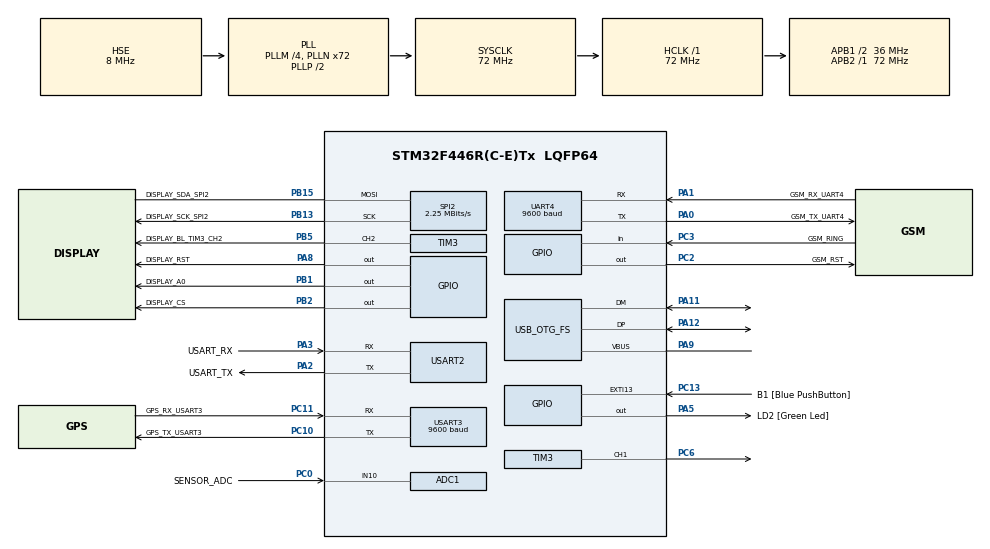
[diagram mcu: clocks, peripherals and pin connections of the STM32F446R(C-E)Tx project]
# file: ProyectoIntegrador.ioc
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ADC1.Channel-0\#ChannelRegularConversion=ADC_CHANNEL_10
ADC1.ClockPrescaler=ADC_CLOCK_SYNC_PCLK_DIV2
ADC1.ContinuousConvMode=DISABLE
ADC1.DMAContinuousRequests=ENABLE
ADC1.NbrOfConversionFlag=1
ADC1.Rank-0\#ChannelRegularConversion=1
ADC1.SamplingTime-0\#ChannelRegularConversion=ADC_SAMPLETIME_3CYCLES
ADC1.master=1
Dma.ADC1.0.Direction=DMA_PERIPH_TO_MEMORY
Dma.ADC1.0.FIFOMode=DMA_FIFOMODE_DISABLE
Dma.ADC1.0.Instance=DMA2_Stream0
Dma.ADC1.0.MemDataAlignment=DMA_MDATAALIGN_HALFWORD
Dma.ADC1.0.MemInc=DMA_MINC_ENABLE
Dma.ADC1.0.Mode=DMA_CIRCULAR
Dma.ADC1.0.PeriphDataAlignment=DMA_PDATAALIGN_HALFWORD
Dma.ADC1.0.PeriphInc=DMA_PINC_DISABLE
Dma.ADC1.0.Priority=DMA_PRIORITY_LOW
Dma.Request0=ADC1
FREERTOS.Tasks01=defaultTask,0,128,StartDefaultTask,Default,NULL,Dynamic,NULL,NULL
FREERTOS.configTOTAL_HEAP_SIZE=49152
FREERTOS.configUSE_COUNTING_SEMAPHORES=1
FREERTOS.configUSE_NEWLIB_REENTRANT=1
Mcu.Family=STM32F4
Mcu.Name=STM32F446R(C-E)Tx
Mcu.Package=LQFP64
NVIC.DMA2_Stream0_IRQn=true\:5\:0\:false\:false\:true\:true\:false\:true\:true
NVIC.EXTI15_10_IRQn=true\:5\:0\:false\:false\:true\:true\:true\:true\:true
NVIC.OTG_FS_IRQn=true\:5\:0\:false\:false\:true\:true\:false\:true\:true
NVIC.PriorityGroup=NVIC_PRIORITYGROUP_4
NVIC.TIM1_UP_TIM10_IRQn=true\:15\:0\:true\:false\:true\:false\:false\:true\:true
NVIC.TIM2_IRQn=true\:5\:0\:false\:false\:true\:true\:true\:true\:true
NVIC.TIM4_IRQn=true\:5\:0\:false\:false\:true\:true\:true\:true\:true
NVIC.TIM5_IRQn=true\:5\:0\:false\:false\:true\:true\:true\:true\:true
NVIC.TIM6_DAC_IRQn=true\:5\:0\:false\:false\:true\:true\:true\:true\:true
NVIC.TimeBase=TIM1_UP_TIM10_IRQn
NVIC.TimeBaseIP=TIM1
NVIC.UART4_IRQn=true\:5\:0\:true\:false\:true\:true\:true\:true\:true
NVIC.USART3_IRQn=true\:5\:0\:true\:false\:true\:true\:true\:true\:true
PA0-WKUP.GPIO_Label=GSM_TX_UART4
PA0-WKUP.Mode=Asynchronous
PA0-WKUP.Signal=UART4_TX
PA1.GPIO_Label=GSM_RX_UART4
PA1.Mode=Asynchronous
PA1.Signal=UART4_RX
PA11.Mode=Device_Only
PA11.Signal=USB_OTG_FS_DM
PA12.Mode=Device_Only
PA12.Signal=USB_OTG_FS_DP
PA13.GPIO_Label=TMS
PA13.Mode=Serial_Wire
PA13.Signal=SYS_JTMS-SWDIO
PA14.GPIO_Label=TCK
PA14.Mode=Serial_Wire
PA14.Signal=SYS_JTCK-SWCLK
PA2.GPIO_Label=USART_TX
PA2.Mode=Asynchronous
PA2.Signal=USART2_TX
PA3.GPIO_Label=USART_RX
PA3.Mode=Asynchronous
PA3.Signal=USART2_RX
PA5.GPIO_Label=LD2 [Green Led]
PA5.Signal=GPIO_Output
PA8.GPIO_Label=DISPLAY_RST
PA8.Signal=GPIO_Output
PA9.Mode=Activate_VBUS
PA9.Signal=USB_OTG_FS_VBUS
PB1.GPIO_Label=DISPLAY_A0
PB1.Signal=GPIO_Output
PB13.GPIO_Label=DISPLAY_SCK_SPI2
PB13.Mode=Simplex_Bidirectional_Master
PB13.Signal=SPI2_SCK
PB15.GPIO_Label=DISPLAY_SDA_SPI2
PB15.Mode=Simplex_Bidirectional_Master
PB15.Signal=SPI2_MOSI
PB2.GPIO_Label=DISPLAY_CS
PB2.Signal=GPIO_Output
PB3.GPIO_Label=SWO
PB3.Signal=SYS_JTDO-SWO
PB5.GPIO_Label=DISPLAY_BL_TIM3_CH2
PB5.Signal=S_TIM3_CH2
PC0.GPIO_Label=SENSOR_ADC
PC0.Signal=ADCx_IN10
PC10.GPIO_Label=GPS_TX_USART3
PC10.Mode=Asynchronous
PC10.Signal=USART3_TX
PC11.GPIO_Label=GPS_RX_USART3
PC11.Mode=Asynchronous
PC11.Signal=USART3_RX
PC13.GPIO_Label=B1 [Blue PushButton]
PC13.GPIO_ModeDefaultEXTI=GPIO_MODE_IT_FALLING
PC13.Signal=GPXTI13
PC14-OSC32_IN.Mode=LSE-External-Oscillator
PC14-OSC32_IN.Signal=RCC_OSC32_IN
PC15-OSC32_OUT.Mode=LSE-External-Oscillator
PC15-OSC32_OUT.Signal=RCC_OSC32_OUT
PC2.GPIO_Label=GSM_RST
PC2.Signal=GPIO_Output
PC3.GPIO_Label=GSM_RING
PC3.Signal=GPIO_Input
PC6.Signal=S_TIM3_CH1
PH0-OSC_IN.Mode=HSE-External-Oscillator
PH0-OSC_IN.Signal=RCC_OSC_IN
PH1-OSC_OUT.Mode=HSE-External-Oscillator
PH1-OSC_OUT.Signal=RCC_OSC_OUT
ProjectManager.HeapSize=0x200
ProjectManager.StackSize=0x400
ProjectManager.TargetToolchain=STM32CubeIDE
RCC.48MHZClocksFreq_Value=84000000
RCC.AHBFreq_Value=72000000
RCC.APB1CLKDivider=RCC_HCLK_DIV2
RCC.APB1Freq_Value=36000000
RCC.APB1TimFreq_Value=72000000
RCC.APB2Freq_Value=72000000
RCC.APB2TimFreq_Value=72000000
RCC.CortexFreq_Value=72000000
RCC.FLatency-AdvancedSettings=FLASH_LATENCY_2
RCC.HCLKFreq_Value=72000000
RCC.HSE_VALUE=8000000
RCC.HSI_VALUE=16000000
RCC.PLLM=4
RCC.PLLN=72
RCC.PLLQ=3
RCC.PLLSourceVirtual=RCC_PLLSOURCE_HSE
RCC.SYSCLKFreq_VALUE=72000000
RCC.SYSCLKSource=RCC_SYSCLKSOURCE_PLLCLK
RCC.USBFreq_Value=48000000
RCC.VCOOutputFreq_Value=144000000
SH.ADCx_IN10.0=ADC1_IN10,IN10
SH.S_TIM3_CH1.0=TIM3_CH1,PWM Generation1 CH1
SH.S_TIM3_CH2.0=TIM3_CH2,PWM Generation2 CH2
SPI2.BaudRatePrescaler=SPI_BAUDRATEPRESCALER_16
SPI2.CalculateBaudRate=2.25 MBits/s
SPI2.Direction=SPI_DIRECTION_1LINE
SPI2.Mode=SPI_MODE_MASTER
SPI2.VirtualType=VM_MASTER
TIM2.Period=360000
TIM2.Prescaler=35999
TIM3.AutoReloadPreload=TIM_AUTORELOAD_PRELOAD_ENABLE
TIM3.Channel-Output\ Compare2\ CH2=TIM_CHANNEL_2
TIM3.Channel-PWM\ Generation1\ CH1=TIM_CHANNEL_1
TIM3.Channel-PWM\ Generation2\ CH2=TIM_CHANNEL_2
TIM3.ClockDivision=TIM_CLOCKDIVISION_DIV1
TIM3.Period=2000
TIM3.Prescaler=35
TIM3.Pulse-PWM\ Generation2\ CH2=0
TIM4.ClockDivision=TIM_CLOCKDIVISION_DIV1
TIM4.Period=60000
TIM4.Prescaler=47999
TIM5.Period=240000
TIM5.Prescaler=35999
TIM6.AutoReloadPreload=TIM_AUTORELOAD_PRELOAD_DISABLE
TIM6.Period=1000
TIM6.Prescaler=47999
UART4.BaudRate=9600
UART4.VirtualMode=Asynchronous
USART2.VirtualMode=VM_ASYNC
USART3.BaudRate=9600
USART3.VirtualMode=VM_ASYNC
USB_DEVICE.CLASS_NAME_FS=CUSTOM_HID
USB_DEVICE.CUSTOM_HID_FS_BINTERVAL=0x5
USB_DEVICE.MANUFACTURER_STRING-CUSTOM_HID_FS=STMicroelectronics
USB_DEVICE.PRODUCT_STRING_CUSTOMHID_FS=Rastreador GPS
USB_DEVICE.USBD_CUSTOMHID_OUTREPORT_BUF_SIZE-CUSTOM_HID_FS=64
USB_DEVICE.USBD_CUSTOM_HID_REPORT_DESC_SIZE-CUSTOM_HID_FS=33
USB_DEVICE.VID-CUSTOM_HID_FS=1155
USB_DEVICE.VirtualMode-CUSTOM_HID_FS=CustomHid
USB_DEVICE.VirtualModeFS=Custom_Hid_FS
USB_OTG_FS.VirtualMode=Device_Only
VP_FREERTOS_VS_CMSIS_V1.Mode=CMSIS_V1
VP_SYS_VS_tim1.Mode=TIM1
VP_TIM2_VS_ClockSourceINT.Mode=Internal
VP_TIM3_VS_ClockSourceINT.Mode=Internal
VP_TIM4_VS_ClockSourceINT.Mode=Internal
VP_TIM5_VS_ClockSourceINT.Mode=Internal
VP_TIM6_VS_ClockSourceINT.Mode=Enable_Timer
VP_USB_DEVICE_VS_USB_DEVICE_CUSTOM_HID_FS.Mode=CUSTOM_HID_FS
board=NUCLEO-F446RE
wolfSSL.I-CUBE-wolfMQTT.1.19.0.WOLFMQTT_CONF_FREERTOS=1

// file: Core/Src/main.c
/* USER CODE BEGIN Header */
/**
  ******************************************************************************
  * @file           : main.c
  * @brief          : Main program body
  ******************************************************************************
  * @attention
  *
  * Copyright (c) 2024 STMicroelectronics.
  * All rights reserved.
  *
  * This software is licensed under terms that can be found in the LICENSE file
  * in the root directory of this software component.
  * If no LICENSE file comes with this software, it is provided AS-IS.
  *
  ******************************************************************************
  */
/* USER CODE END Header */
#include "main.h"
#include "cmsis_os.h"
#include "usb_device.h"

/* USER CODE BEGIN Includes */
#include <stdlib.h>
#include <string.h>
//#include <ut_NMEA.h>
#include "semphr.h"
#include "queue.h"

#include "dr_GPS.h"
#include "dr_GSM.h"

#include "dr_Display.h"
#include "screen_layout.h"

#include "dr_USB.h"

/* USER CODE END Includes */

/* USER CODE BEGIN PD */

#define	DEBUG_UART	&huart2
#define	GPS_UART	&huart3
#define	GSM_UART	&huart4

#define SCREEN_UPDATE_QUEUE_SIZE	16

#define	SCREEN_UPDATE_GPSRMC		1
#define SCREEN_UPDATE_GPSGGA		2
#define SCREEN_UPDATE_CONNECTION	3
#define SCREEN_UPDATE_MQTTPING		4
#define SCREEN_UPDATE_MQTTPUB		5
#define	SCREEN_UPDATE_TICK			6

#define GSM_CONNECTIONG_TASK_DELAY	1500

/* USER CODE END PD */

/* USER CODE BEGIN PM */

#define	__INCREASE_COUNT(X, MAX) if(++X >= MAX) X = 0;

/* USER CODE END PM */

ADC_HandleTypeDef hadc1;
DMA_HandleTypeDef hdma_adc1;

SPI_HandleTypeDef hspi2;

TIM_HandleTypeDef htim2;
TIM_HandleTypeDef htim3;
TIM_HandleTypeDef htim4;
TIM_HandleTypeDef htim5;
TIM_HandleTypeDef htim6;

UART_HandleTypeDef huart4;
UART_HandleTypeDef huart2;
UART_HandleTypeDef huart3;

osThreadId defaultTaskHandle;
/* USER CODE BEGIN PV */

/*
 * TIM2: -Publish  (32 bits)
 * TIM4: -ADC
 * TIM3: PWM Display BL
 * TIM5: -Ping (32 bits)
 * TIM6: Screen Tick
 */

// Peripherals variables.
uint8_t gpsRxByte;
uint8_t simRxByte;
uint16_t ADC_Value = 0;

// Configuration default values.
const char default_MQTT_host[15] = "190.18.0.169";
const char default_MQTT_port[5] = "1883";
const char default_MQTT_topic[16] = "Prueba";
const char default_MQTT_username[30] = "Nucleo";
const char default_MQTT_password[30] = "f446re";
const char default_MQTT_clientIdentifier[16] = "STM32";
const uint8_t default_MQTT_connectWhenUsbUnplug = 1;
const uint8_t default_MQTT_publishInterval = 180; // In seconds.
const uint8_t default_MQTT_pingInterval = 120; // In seconds.

const uint8_t default_GPS_interval = 3; // In seconds.
const uint8_t default_ADC_interval = 40; // In seconds.

// Configuration values.
char MQTT_host[15] = "190.18.0.169";
char MQTT_port[5] = "1883";
char MQTT_topic[16] = "Prueba";
char MQTT_username[30] = "Nucleo";
char MQTT_password[30] = "f446re";
char MQTT_clientIdentifier[16] = "STM32";
uint8_t MQTT_connectWhenUsbUnplug = 1;
uint8_t MQTT_publishInterval = 180; // In seconds.
uint8_t MQTT_pingInterval = 120; // In seconds.

uint8_t GPS_interval = 3; // In seconds.
uint8_t ADC_interval = 40; // In seconds.

// Const. variables.
const uint16_t MQTT_sessionExpire = 180; // Tiempo sin mensajes para ser desconectado del host.
const uint16_t MQTT_keepAlive = 300; // Tiempo desconectado para que el host olvide el dispositivo.

// FreeRTOS
SemaphoreHandle_t Semaphore_MQTT_Connect;
SemaphoreHandle_t Semaphore_MQTT_Disconnect;
//SemaphoreHandle_t Semaphore_MQTT_Logged;
SemaphoreHandle_t Semaphore_MQTT_Publish;
SemaphoreHandle_t Semaphore_MQTT_Ping;

QueueHandle_t Screen_Update_Queue;

// Pequé de vagancia
// Variable en la que deseamos que esté el sistema:
uint8_t MQTT_connection_objective = MQTT_CONNECTED;
// Variable en la que se encuentra el sistema:
uint8_t MQTT_connection_status = MQTT_DISCONNECTED;
// Buffer para transmitir la información de ubicación por USB:
uint8_t USB_GPS_report[0x40] = {0x40};

/*
 * TODO:
 * Renombrar variables de GPS.c y GSM.c para que sigan alguna lógica común...
 * Renombrar funciones de GPS.c y GSM.c para que sigan alguna lógica común...
 * Chequear si 'GSM_Read_SMS' y 'GSM_Delete_SMS' funcionan.
 * USB: Agregar envío de trama de posición.
 * USB: Agregar lectura y borrado de SMS.
 * Reemplazar variables globales en dr_GPS.c por elementos de FreeRTOS.
 * Reemplazar semáforos que sólo son recibidos en una tarea por notificaciones.
 * Revisar si las cuentas de los TIMERS están bien.
 * Revisar si TIM4 puede triggerear al ADC por HW.
 * Revisar cuanto stack usa cada task y ajustar stack de FreeRTOS.
 *
 * Cosas variables a agregar en QT:
 * - Formato de GPS (DDD, DMM, DMS).
 *
 * Dudas:
 * - Ver el tema de #include cmsis_os.h en los archivos o incluir semáforos, tasks, queues, a mano.
 * - Debería iniciar tasks en los .c o que tengan una función "Tick" a ser llamada?
 */

/* USER CODE END PV */

void SystemClock_Config(void);
static void MX_GPIO_Init(void);
static void MX_DMA_Init(void);
static void MX_USART2_UART_Init(void);
static void MX_UART4_Init(void);
static void MX_ADC1_Init(void);
static void MX_TIM3_Init(void);
static void MX_USART3_UART_Init(void);
static void MX_SPI2_Init(void);
static void MX_TIM4_Init(void);
static void MX_TIM6_Init(void);
static void MX_TIM2_Init(void);
static void MX_TIM5_Init(void);
void StartDefaultTask(void const * argument);

/* USER CODE BEGIN PFP */

// Tasks
void MQTT_Connect_Task(void * pvParameters);
void MQTT_Disconnect_Task(void * pvParameters);
void MQTT_Publish_Task(void * pvParameters);
void MQTT_Ping_Task(void * pvParameters);
void Screen_Update_Task(void * pvParameters);

/* USER CODE END PFP */

/* USER CODE BEGIN 0 */

// Callbacks
void HAL_GPIO_EXTI_Callback(uint16_t GPIO_Pin)
{
	if(GPIO_Pin == B1_Pin)
	{
		HAL_UART_Transmit(DEBUG_UART, (uint8_t *) "B1 Press Detect\r\n", 17, HAL_MAX_DELAY);
	}
}

void HAL_UART_RxCpltCallback(UART_HandleTypeDef *huart)
{
	if(huart == GPS_UART)
	{
		//HAL_UART_Transmit(DEBUG_UART, (uint8_t *) &gpsRxByte, 1, HAL_MAX_DELAY);
		GPS_RxITByte(gpsRxByte);
		HAL_UART_Receive_IT(GPS_UART, (uint8_t *) &gpsRxByte, 1);
	}
	else if(huart == GSM_UART)
	{
		HAL_UART_Transmit(DEBUG_UART, (uint8_t *) &simRxByte, 1, HAL_MAX_DELAY);
		GSM_RxITByte(simRxByte);
		HAL_UART_Receive_IT(GSM_UART, (uint8_t *) &simRxByte, 1);
	}
}

void GPS_New_Data_Callback(NMEA_Type_t type)
{
	static NMEA_RMC_Sentence_t RMCdata;
	static NMEA_GGA_Sentence_t GGAdata;

	uint8_t value;
	if(type == RMC) {
		value = SCREEN_UPDATE_GPSRMC;
		GPS_Get_Last_RMC(&RMCdata);
	}
	else if(type == GGA) {
		value = SCREEN_UPDATE_GPSGGA;
		GPS_Get_Last_GGA(&GGAdata);
	}
	xQueueSend(Screen_Update_Queue, &value, portMAX_DELAY);

	//uint8_t TXbuffer[0x40] = {0};
	transmit_packet_flags_t flags = {
			.format = FORMAT_MORE_LEGIBLE,
			.identifier = 1,
			.status = 1,
			.latitude = 1,
			.longitude = 1,
			.time = 0,
			.date = 0,
			.altitude = 1,
			.speed = 1,
			.satellite_qty = 1,
			.adc_value = 1
	};
	Parse_Transmit_Packet((uint8_t *) &USB_GPS_report[1], RMCdata, GGAdata, ADC_Value, flags);
}

void GSM_New_SMS_Callback(uint8_t index)
{
	uint8_t aux[20] = "NUEVO MENSAJE! (0)\r\n";
	aux[16] = index + '0';
	HAL_UART_Transmit(DEBUG_UART, (uint8_t *) &aux, 20, HAL_MAX_DELAY);
}

// Tasks
void MQTT_Connect_Task(void * pvParameters)
{
	uint8_t gsm_registered = 0;
	uint8_t gsm_connected = 0;
	uint8_t mqtt_connected = 0;
	uint8_t mqtt_logged = 0;

	uint16_t delay = GSM_CONNECTIONG_TASK_DELAY;

	while(1)
	{
		xSemaphoreTake(Semaphore_MQTT_Connect, portMAX_DELAY);
		xSemaphoreGive(Semaphore_MQTT_Connect);
		if(MQTT_connection_objective == MQTT_DISCONNECTED || MQTT_connection_objective == MQTT_RECONNECT)
		{
			HAL_UART_Transmit(DEBUG_UART, (uint8_t *) "MQTT Disconnecting\r\n", 20, HAL_MAX_DELAY);
			mqtt_connected = 0;
			mqtt_logged = 0;
			delay = GSM_CONNECTIONG_TASK_DELAY;
			MQTT_connection_status = MQTT_DISCONNECTING;
			//xSemaphoreTake(Semaphore_MQTT_Ping, portMAX_DELAY);
			HAL_TIM_Base_Stop_IT(&htim2); // Publish
			//xSemaphoreTake(Semaphore_MQTT_Logged, portMAX_DELAY);
			HAL_TIM_Base_Stop_IT(&htim5); // Ping
			xSemaphoreGive(Semaphore_MQTT_Disconnect);
			xSemaphoreTake(Semaphore_MQTT_Connect, portMAX_DELAY);
		}
		else if(MQTT_connection_objective == MQTT_CONNECTED)
		{
			if(MQTT_connection_status == MQTT_CONNECTED)
			{
				//if(mqtt_logged == MQTT_LOGGED)
				//{
					HAL_UART_Transmit(DEBUG_UART, (uint8_t *) "MQTT Connection check...\r\n", 26, HAL_MAX_DELAY);
					mqtt_logged = GSM_MQTT_Is_Logged();
					if(mqtt_logged == MQTT_NOT_LOGGED)
					{
						HAL_UART_Transmit(DEBUG_UART, (uint8_t *) "MQTT Disconnected\r\n", 19, HAL_MAX_DELAY);
						mqtt_connected = 0;
						MQTT_connection_status = MQTT_DISCONNECTED;
						//xSemaphoreTake(Semaphore_MQTT_Ping, portMAX_DELAY);
						HAL_TIM_Base_Stop_IT(&htim5); // Ping
						//xSemaphoreTake(Semaphore_MQTT_Logged, portMAX_DELAY);
						HAL_TIM_Base_Stop_IT(&htim2); // Publish
						delay = GSM_CONNECTIONG_TASK_DELAY;
						uint8_t value = SCREEN_UPDATE_CONNECTION;
						xQueueSend(Screen_Update_Queue, &value, portMAX_DELAY);
					}
				//}
			}
			else if(MQTT_connection_status == MQTT_CONNECTING)
			{
				HAL_UART_Transmit(DEBUG_UART, (uint8_t *) "MQTT Connecting...\r\n", 20, HAL_MAX_DELAY);
				if(gsm_registered != 1 && gsm_registered != 5)
				{
					HAL_UART_Transmit(DEBUG_UART, (uint8_t *) "REG: Checking...\r\n", 18, HAL_MAX_DELAY);
					gsm_registered = GSM_CREG();
					if(gsm_registered == ERROR_VALUE) HAL_UART_Transmit(DEBUG_UART, (uint8_t *) "REG: ERROR\r\n", 12, HAL_MAX_DELAY);
					else if(gsm_registered == 1) HAL_UART_Transmit(DEBUG_UART, (uint8_t *) "REG: REGISTERED (1)\r\n", 21, HAL_MAX_DELAY);
					else if(gsm_registered == 5) HAL_UART_Transmit(DEBUG_UART, (uint8_t *) "REG: REGISTERED (5)\r\n", 21, HAL_MAX_DELAY);
					else HAL_UART_Transmit(DEBUG_UART, (uint8_t *) "REG: NOT REGISTERED\r\n", 21, HAL_MAX_DELAY);
				}
				else if(gsm_connected == GSM_DISCONNECTED)
				{
					HAL_UART_Transmit(DEBUG_UART, (uint8_t *) "Connecting to NET (CGATT)...\r\n", 30, HAL_MAX_DELAY);
					GSM_Error_t gsm_net_status = GSM_NET_Init();
					if(gsm_net_status == GSM_ERR_OK)
					{
						HAL_UART_Transmit(DEBUG_UART, (uint8_t *) "NET: CONNECTED\r\n", 16, HAL_MAX_DELAY);
						gsm_connected = GSM_CONNECTED;
					}
					else if(gsm_net_status == GSM_CIPSHUT_ERR) HAL_UART_Transmit(DEBUG_UART, (uint8_t *) "NET: CIPSHUR ERROR\r\n", 20, HAL_MAX_DELAY);
					else if(gsm_net_status == GSM_GATT_ERR) HAL_UART_Transmit(DEBUG_UART, (uint8_t *) "NET: GATT ERROR\r\n", 17, HAL_MAX_DELAY);
					else if(gsm_net_status == GSM_CIPMODE_ERR) HAL_UART_Transmit(DEBUG_UART, (uint8_t *) "NET: CIPMODE ERROR\r\n", 20, HAL_MAX_DELAY);
					else if(gsm_net_status == GSM_CSTT_ERR) HAL_UART_Transmit(DEBUG_UART, (uint8_t *) "NET: CSTT ERROR\r\n", 17, HAL_MAX_DELAY);
					else if(gsm_net_status == GSM_CIICR_ERR) HAL_UART_Transmit(DEBUG_UART, (uint8_t *) "NET: CIICR ERROR\r\n", 18, HAL_MAX_DELAY);
					else if(gsm_net_status == GSM_CIFSR_ERR) HAL_UART_Transmit(DEBUG_UART, (uint8_t *) "NET: CIFSR ERROR\r\n", 18, HAL_MAX_DELAY);
					else HAL_UART_Transmit(DEBUG_UART, (uint8_t *) "NET: UNKNOWN ERROR\r\n", 20, HAL_MAX_DELAY);
				}
				else if(mqtt_connected == TCP_DISCONNECTED)
				{
					HAL_UART_Transmit(DEBUG_UART, (uint8_t *) "Connecting to host and establishing MQTT protocol...\r\n", 54, HAL_MAX_DELAY);
					GSM_MQTT_Connect(MQTT_host, MQTT_port, MQTT_username, MQTT_password, MQTT_clientIdentifier, MQTT_sessionExpire, MQTT_keepAlive);
					HAL_UART_Transmit(DEBUG_UART, (uint8_t *) "Connection request ended, checking status...\r\n", 46, HAL_MAX_DELAY);
					mqtt_connected = GSM_MQTT_Is_Connected();
				}
				else if(mqtt_logged == MQTT_NOT_LOGGED)
				{
					HAL_UART_Transmit(DEBUG_UART, (uint8_t *) "Connection request ended, checking status...\r\n", 46, HAL_MAX_DELAY);
					mqtt_logged = GSM_MQTT_Is_Logged();
					if(mqtt_logged == MQTT_LOGGED) {
						HAL_UART_Transmit(DEBUG_UART, (uint8_t *) "MQTT Connection established\r\n", 29, HAL_MAX_DELAY);
						MQTT_connection_status = MQTT_CONNECTED;
						//xSemaphoreGive(Semaphore_MQTT_Ping);
						HAL_TIM_Base_Start_IT(&htim5); // Ping
						//xSemaphoreGive(Semaphore_MQTT_Logged);
						HAL_TIM_Base_Start_IT(&htim2); // Publish
						delay = 2 * GSM_CONNECTIONG_TASK_DELAY;
						uint8_t value = SCREEN_UPDATE_CONNECTION;
						xQueueSend(Screen_Update_Queue, &value, portMAX_DELAY);
					}
				}
			}
		}
		vTaskDelay(delay / portTICK_RATE_MS);
	}
}

void MQTT_Disconnect_Task(void * pvParameters)
{
	//uint8_t gsm_registered = 0;
	//uint8_t gsm_connected = 0;
	uint8_t mqtt_connected = 0;
	//uint8_t mqtt_logged = 0;

	uint8_t mqtt_reconnect = 0;

	uint16_t delay = GSM_CONNECTIONG_TASK_DELAY;

	while(1)
	{
		xSemaphoreTake(Semaphore_MQTT_Disconnect, portMAX_DELAY);
		xSemaphoreGive(Semaphore_MQTT_Disconnect);
		if(MQTT_connection_objective == MQTT_CONNECTED)
		{
			HAL_UART_Transmit(DEBUG_UART, (uint8_t *) "MQTT Connecting\r\n", 17, HAL_MAX_DELAY);
			delay = GSM_CONNECTIONG_TASK_DELAY;
			MQTT_connection_status = MQTT_CONNECTING;
			xSemaphoreGive(Semaphore_MQTT_Connect);
			xSemaphoreTake(Semaphore_MQTT_Disconnect, portMAX_DELAY);
		}
		else if(MQTT_connection_objective == MQTT_RECONNECT)
		{
			HAL_UART_Transmit(DEBUG_UART, (uint8_t *) "MQTT Reconnecting\r\n", 19, HAL_MAX_DELAY);
			mqtt_reconnect = 1;
			MQTT_connection_objective = MQTT_DISCONNECTED;
		}
		else if(MQTT_connection_objective == MQTT_DISCONNECTED)
		{
			if(MQTT_connection_status == MQTT_DISCONNECTED)
			{
				HAL_UART_Transmit(DEBUG_UART, (uint8_t *) "MQTT Disconnected\r\n", 19, HAL_MAX_DELAY);
				uint8_t value = SCREEN_UPDATE_CONNECTION;
				xQueueSend(Screen_Update_Queue, &value, portMAX_DELAY);
				if(mqtt_reconnect == 1)
				{
					mqtt_reconnect = 0;
					MQTT_connection_objective = MQTT_CONNECTED;
				}
			}
			else if(MQTT_connection_status == MQTT_DISCONNECTING)
			{
				HAL_UART_Transmit(DEBUG_UART, (uint8_t *) "MQTT Disconnecting...\r\n", 23, HAL_MAX_DELAY);
				mqtt_connected = GSM_MQTT_Is_Connected();
				if(mqtt_connected == TCP_CONNECTED)
				{
					GSM_MQTT_Disconnect();
					mqtt_connected = GSM_MQTT_Is_Connected();
				}
				else if(mqtt_connected == TCP_DISCONNECTED)
				{
					MQTT_connection_status = MQTT_DISCONNECTED;
				}
			}
		}
		vTaskDelay(delay / portTICK_RATE_MS);
	}
}

void MQTT_Publish_Task(void * pvParameters)
{
	while(1)
	{
		//GSM_SMS_t outputData;
		//GSM_Read_SMS(1, MEM_NOT_UPDATE, &outputData);
		//HAL_UART_Transmit(DEBUG_UART, (uint8_t *) "= SMS index 1: =", 16, HAL_MAX_DELAY);
		//HAL_UART_Transmit(DEBUG_UART, (uint8_t *) "\r\nSender: ", 10, HAL_MAX_DELAY);
		//HAL_UART_Transmit(DEBUG_UART, (uint8_t *) outputData.sender, strlen((char *) (&outputData.sender)), HAL_MAX_DELAY);
		//HAL_UART_Transmit(DEBUG_UART, (uint8_t *) "\r\nSMS text: ", 12, HAL_MAX_DELAY);
		//HAL_UART_Transmit(DEBUG_UART, (uint8_t *) outputData.txt, strlen((char *) (&outputData.txt)), HAL_MAX_DELAY);
		//HAL_UART_Transmit(DEBUG_UART, (uint8_t *) "\r\n", 2, HAL_MAX_DELAY);

		HAL_UART_Transmit(DEBUG_UART, (uint8_t *) "MQTT Publishing-Take\r\n", 22, HAL_MAX_DELAY);
		//xSemaphoreTake(Semaphore_MQTT_Logged, portMAX_DELAY);
		xSemaphoreTake(Semaphore_MQTT_Publish, portMAX_DELAY);
		HAL_UART_Transmit(DEBUG_UART, (uint8_t *) "MQTT Publishing-Give\r\n", 22, HAL_MAX_DELAY);
		//xSemaphoreGive(Semaphore_MQTT_Logged);

		HAL_UART_Transmit(DEBUG_UART, (uint8_t *) "MQTT Publishing in process...\r\n", 31, HAL_MAX_DELAY);

		NMEA_RMC_Sentence_t RMCdata;
		NMEA_GGA_Sentence_t GGAdata;

		GPS_Get_Last_RMC(&RMCdata);
		GPS_Get_Last_GGA(&GGAdata);

		uint8_t TXbuffer[128];
		transmit_packet_flags_t flags = {
				.format = FORMAT_MORE_LEGIBLE,
				.identifier = 1,
				.status = 1,
				.latitude = 1,
				.longitude = 1,
				.time = 1,
				.date = 1,
				.altitude = 1,
				.speed = 1,
				.satellite_qty = 1,
				.adc_value = 1
		};
		uint8_t TXlength = Parse_Transmit_Packet((uint8_t *) &TXbuffer, RMCdata, GGAdata, ADC_Value, flags);
		if(TXlength > 0) {
			GSM_MQTT_Pub("Prueba", (char *) &TXbuffer);
			HAL_UART_Transmit(DEBUG_UART, (uint8_t *) "MQTT Publishing done!\r\n", 23, HAL_MAX_DELAY);
			uint8_t value = SCREEN_UPDATE_MQTTPUB;
			xQueueSend(Screen_Update_Queue, &value, portMAX_DELAY);
		}

		//vTaskDelay(5000 / portTICK_RATE_MS);
	}
}

void MQTT_Ping_Task(void * pvParameters)
{
	while(1)
	{
		HAL_UART_Transmit(DEBUG_UART, (uint8_t *) "MQTT PingReq-Take\r\n", 19, HAL_MAX_DELAY);
		xSemaphoreTake(Semaphore_MQTT_Ping, portMAX_DELAY);
		HAL_UART_Transmit(DEBUG_UART, (uint8_t *) "MQTT PingReq-Give\r\n", 19, HAL_MAX_DELAY);
		//xSemaphoreGive(Semaphore_MQTT_Ping);
		HAL_UART_Transmit(DEBUG_UART, (uint8_t *) "MQTT PingReq\r\n", 14, HAL_MAX_DELAY);
		GSM_MQTT_Ping();
		HAL_UART_Transmit(DEBUG_UART, (uint8_t *) "MQTT PingReq-End\r\n", 18, HAL_MAX_DELAY);
		uint8_t value = SCREEN_UPDATE_MQTTPING;
		xQueueSend(Screen_Update_Queue, &value, portMAX_DELAY);
		//vTaskDelay(120 * 1000 / portTICK_RATE_MS);
	}
}

void Screen_Update_Task(void * pvParameters)
{
	static uint8_t gps_last = 0;

	while(1)
	{
		if(uxQueueMessagesWaiting(Screen_Update_Queue) > 0)
		{
			uint8_t value = 0;
			xQueueReceive(Screen_Update_Queue, &value, portMAX_DELAY);
			switch(value)
			{
				case SCREEN_UPDATE_GPSRMC:
				{
					gps_last = 1;
					Screen_New_GPS_Data(gps_last);
					NMEA_RMC_Sentence_t sentence;
					GPS_Get_Last_RMC(&sentence);
					Screen_Set_Time(sentence.hours, sentence.minutes, sentence.seconds);
					Screen_Set_Date(sentence.day, sentence.month, sentence.year);
					Screen_Set_Identifier(sentence.identifier);
					if(sentence.status == RMC_VALID) Screen_Set_Data_Status("Valid  ");
					else Screen_Set_Data_Status("Invalid");
					Screen_Set_Position(sentence.latitude, sentence.longitude);
					break;
				}
				case SCREEN_UPDATE_GPSGGA:
				{
					NMEA_GGA_Sentence_t sentence;
					GPS_Get_Last_GGA(&sentence);
					Screen_Set_Satellite_Qty(sentence.satellites);
					break;
				}
				case SCREEN_UPDATE_CONNECTION:
				{
					if(GSM_MQTT_Is_Connected())
						Screen_Set_TCP_Status("  Connected", 1);
					else
						Screen_Set_TCP_Status("Disonnected", 0);
					break;
				}
				case SCREEN_UPDATE_MQTTPING:
				{
					Screen_Layout_Toggle_Ping();
					break;
				}
				case SCREEN_UPDATE_MQTTPUB:
				{
					Screen_Layout_Toggle_Publish();
					break;
				}
				case SCREEN_UPDATE_TICK:
				{
					Screen_Tick();
					break;
				}
			}
		}

		vTaskDelay(500 / portTICK_RATE_MS);

		if(gps_last)
		{
			gps_last = 0;
			Screen_New_GPS_Data(gps_last);
		}
	}
}

/* USER CODE END 0 */

int main(void)
{

  /* MCU Configuration--------------------------------------------------------*/

  /* Reset of all peripherals, Initializes the Flash interface and the Systick. */
  HAL_Init();

  /* Configure the system clock */
  SystemClock_Config();

  /* Initialize all configured peripherals */
  MX_GPIO_Init();
  MX_DMA_Init();
  MX_USART2_UART_Init();
  MX_UART4_Init();
  MX_ADC1_Init();
  MX_TIM3_Init();
  MX_USART3_UART_Init();
  MX_SPI2_Init();
  MX_TIM4_Init();
  MX_TIM6_Init();
  MX_TIM2_Init();
  MX_TIM5_Init();
  /* USER CODE BEGIN 2 */

  // Screen start
  ST7735_Init();
  Screen_Layout_Init();
  HAL_TIM_PWM_Start(&htim3, TIM_CHANNEL_2);

  // Start USB
  MX_USB_DEVICE_Init();
  USB_Process_Init(tskIDLE_PRIORITY + 4);

  // GPS Config
  GPS_Init(GPS_UART, tskIDLE_PRIORITY + 2);
  GPS_Config(default_GPS_interval, TIMEREF_UTC);
  GPS_Config_Sentence(GGA, SENTENCE_ENABLED);
  GPS_Config_Sentence(RMC, SENTENCE_ENABLED);
  GPS_Config_Sentence(GLL, SENTENCE_DISABLED);
  GPS_Config_Sentence(GSA, SENTENCE_DISABLED);
  GPS_Config_Sentence(GSV, SENTENCE_DISABLED);
  GPS_Config_Sentence(VTG, SENTENCE_DISABLED);
  GPS_Config_Sentence(ZDA, SENTENCE_DISABLED);
  HAL_UART_Receive_IT(GPS_UART, (uint8_t *) &gpsRxByte, 1);

  // GSM Config
  GSM_RST_GPIO(GSM_RST_GPIO_Port, GSM_RST_Pin);
  BaseType_t init_status = GSM_Init(GSM_UART, tskIDLE_PRIORITY + 4, tskIDLE_PRIORITY + 5, 100);
  if(init_status == errCOULD_NOT_ALLOCATE_REQUIRED_MEMORY)
	  HAL_UART_Transmit(DEBUG_UART, (uint8_t *) "errCOULD_NOT_ALLOCATE_REQUIRED_MEMORY: GSM Init Task\r\n", 54, HAL_MAX_DELAY);
  GSM_Echo_MSGS(ECHO_ENABLED);
  GSM_Debug_MSGS(DEBUG_ALPHA);
  HAL_UART_Receive_IT(GSM_UART, (uint8_t *) &simRxByte, 1);

  // Screen timer
  HAL_TIM_Base_Start_IT(&htim6);

  // Init ADC
  HAL_TIM_Base_Start_IT(&htim4);

  /* USER CODE END 2 */

  /* USER CODE BEGIN RTOS_SEMAPHORES */
  /* add semaphores, ... */

  Semaphore_MQTT_Connect = xSemaphoreCreateBinary();
  Semaphore_MQTT_Disconnect = xSemaphoreCreateBinary();
  xSemaphoreGive(Semaphore_MQTT_Connect);
  MQTT_connection_status = MQTT_CONNECTING;

  Semaphore_MQTT_Publish = xSemaphoreCreateBinary();
  Semaphore_MQTT_Ping = xSemaphoreCreateBinary();
  //Semaphore_MQTT_Logged = xSemaphoreCreateBinary();

  //xSemaphoreGive(Semaphore_Screen_Update);

  /* USER CODE END RTOS_SEMAPHORES */

  /* USER CODE BEGIN RTOS_QUEUES */
  /* add queues, ... */

  Screen_Update_Queue = xQueueCreate(SCREEN_UPDATE_QUEUE_SIZE, sizeof(uint8_t));

  /* USER CODE END RTOS_QUEUES */

  /* Create the thread(s) */
  /* definition and creation of defaultTask */
  osThreadDef(defaultTask, StartDefaultTask, osPriorityNormal, 0, 128);
  defaultTaskHandle = osThreadCreate(osThread(defaultTask), NULL);

  /* USER CODE BEGIN RTOS_THREADS */
  /* add threads, ... */

  BaseType_t Task_Check;

  Task_Check = xTaskCreate(MQTT_Connect_Task, "MQTT Connect Task", 1024, NULL, tskIDLE_PRIORITY + 1, NULL);
  if(Task_Check == errCOULD_NOT_ALLOCATE_REQUIRED_MEMORY)
	  HAL_UART_Transmit(DEBUG_UART, (uint8_t *) "errCOULD_NOT_ALLOCATE_REQUIRED_MEMORY: MQTT Connect Task\r\n", 58, HAL_MAX_DELAY);

  Task_Check = xTaskCreate(MQTT_Disconnect_Task, "MQTT Disconnect Task", 1024, NULL, tskIDLE_PRIORITY + 1, NULL);
  if(Task_Check == errCOULD_NOT_ALLOCATE_REQUIRED_MEMORY)
	  HAL_UART_Transmit(DEBUG_UART, (uint8_t *) "errCOULD_NOT_ALLOCATE_REQUIRED_MEMORY: MQTT Disconnect Task\r\n", 61, HAL_MAX_DELAY);

  Task_Check = xTaskCreate(MQTT_Publish_Task, "MQTT Publish Task", 1024, NULL, tskIDLE_PRIORITY + 2, NULL);
  if(Task_Check == errCOULD_NOT_ALLOCATE_REQUIRED_MEMORY)
	  HAL_UART_Transmit(DEBUG_UART, (uint8_t *) "errCOULD_NOT_ALLOCATE_REQUIRED_MEMORY: MQTT Publish Task\r\n", 58, HAL_MAX_DELAY);

  Task_Check = xTaskCreate(MQTT_Ping_Task, "MQTT Ping Task", 1024, NULL, tskIDLE_PRIORITY + 2, NULL);
  if(Task_Check == errCOULD_NOT_ALLOCATE_REQUIRED_MEMORY)
	  HAL_UART_Transmit(DEBUG_UART, (uint8_t *) "errCOULD_NOT_ALLOCATE_REQUIRED_MEMORY: MQTT Ping Task\r\n", 5, HAL_MAX_DELAY);

  Task_Check = xTaskCreate(Screen_Update_Task, "Screen Update Task", 1024, NULL, tskIDLE_PRIORITY, NULL);
  if(Task_Check == errCOULD_NOT_ALLOCATE_REQUIRED_MEMORY)
	  HAL_UART_Transmit(DEBUG_UART, (uint8_t *) "errCOULD_NOT_ALLOCATE_REQUIRED_MEMORY: Screen Update Task\r\n", 59, HAL_MAX_DELAY);

  HAL_UART_Transmit(DEBUG_UART, (uint8_t *) "><> ENDED ALL CONFIG. STARTING SCHEDULER <><\r\n", 46, HAL_MAX_DELAY);

  vTaskStartScheduler();

  /* USER CODE END RTOS_THREADS */

  /* Start scheduler */
  osKernelStart();

  /* We should never get here as control is now taken by the scheduler */

  /* Infinite loop */
  /* USER CODE BEGIN WHILE */
  while (1)
  {
	  //uint8_t buffer[4] = 10;
	  //USBD_CUSTOM_HID_SendReport(&hUsbDeviceFS, buffer, 4);
    /* USER CODE END WHILE */

  }
}

void SystemClock_Config(void)
{
  RCC_OscInitTypeDef RCC_OscInitStruct = {0};
  RCC_ClkInitTypeDef RCC_ClkInitStruct = {0};

  /** Configure the main internal regulator output voltage
  */
  __HAL_RCC_PWR_CLK_ENABLE();
  __HAL_PWR_VOLTAGESCALING_CONFIG(PWR_REGULATOR_VOLTAGE_SCALE3);

  /** Initializes the RCC Oscillators according to the specified parameters
  * in the RCC_OscInitTypeDef structure.
  */
  RCC_OscInitStruct.OscillatorType = RCC_OSCILLATORTYPE_HSE;
  RCC_OscInitStruct.HSEState = RCC_HSE_ON;
  RCC_OscInitStruct.PLL.PLLState = RCC_PLL_ON;
  RCC_OscInitStruct.PLL.PLLSource = RCC_PLLSOURCE_HSE;
  RCC_OscInitStruct.PLL.PLLM = 4;
  RCC_OscInitStruct.PLL.PLLN = 72;
  RCC_OscInitStruct.PLL.PLLP = RCC_PLLP_DIV2;
  RCC_OscInitStruct.PLL.PLLQ = 3;
  RCC_OscInitStruct.PLL.PLLR = 2;
  if (HAL_RCC_OscConfig(&RCC_OscInitStruct) != HAL_OK)
  {
    Error_Handler();
  }

  /** Initializes the CPU, AHB and APB buses clocks
  */
  RCC_ClkInitStruct.ClockType = RCC_CLOCKTYPE_HCLK|RCC_CLOCKTYPE_SYSCLK
                              |RCC_CLOCKTYPE_PCLK1|RCC_CLOCKTYPE_PCLK2;
  RCC_ClkInitStruct.SYSCLKSource = RCC_SYSCLKSOURCE_PLLCLK;
  RCC_ClkInitStruct.AHBCLKDivider = RCC_SYSCLK_DIV1;
  RCC_ClkInitStruct.APB1CLKDivider = RCC_HCLK_DIV2;
  RCC_ClkInitStruct.APB2CLKDivider = RCC_HCLK_DIV1;

  if (HAL_RCC_ClockConfig(&RCC_ClkInitStruct, FLASH_LATENCY_2) != HAL_OK)
  {
    Error_Handler();
  }
}

static void MX_ADC1_Init(void)
{

  ADC_ChannelConfTypeDef sConfig = {0};

  /** Configure the global features of the ADC (Clock, Resolution, Data Alignment and number of conversion)
  */
  hadc1.Instance = ADC1;
  hadc1.Init.ClockPrescaler = ADC_CLOCK_SYNC_PCLK_DIV2;
  hadc1.Init.Resolution = ADC_RESOLUTION_12B;
  hadc1.Init.ScanConvMode = DISABLE;
  hadc1.Init.ContinuousConvMode = DISABLE;
  hadc1.Init.DiscontinuousConvMode = DISABLE;
  hadc1.Init.ExternalTrigConvEdge = ADC_EXTERNALTRIGCONVEDGE_NONE;
  hadc1.Init.ExternalTrigConv = ADC_SOFTWARE_START;
  hadc1.Init.DataAlign = ADC_DATAALIGN_RIGHT;
  hadc1.Init.NbrOfConversion = 1;
  hadc1.Init.DMAContinuousRequests = ENABLE;
  hadc1.Init.EOCSelection = ADC_EOC_SINGLE_CONV;
  if (HAL_ADC_Init(&hadc1) != HAL_OK)
  {
    Error_Handler();
  }

  /** Configure for the selected ADC regular channel its corresponding rank in the sequencer and its sample time.
  */
  sConfig.Channel = ADC_CHANNEL_10;
  sConfig.Rank = 1;
  sConfig.SamplingTime = ADC_SAMPLETIME_3CYCLES;
  if (HAL_ADC_ConfigChannel(&hadc1, &sConfig) != HAL_OK)
  {
    Error_Handler();
  }

}

static void MX_SPI2_Init(void)
{

  /* SPI2 parameter configuration*/
  hspi2.Instance = SPI2;
  hspi2.Init.Mode = SPI_MODE_MASTER;
  hspi2.Init.Direction = SPI_DIRECTION_1LINE;
  hspi2.Init.DataSize = SPI_DATASIZE_8BIT;
  hspi2.Init.CLKPolarity = SPI_POLARITY_LOW;
  hspi2.Init.CLKPhase = SPI_PHASE_1EDGE;
  hspi2.Init.NSS = SPI_NSS_SOFT;
  hspi2.Init.BaudRatePrescaler = SPI_BAUDRATEPRESCALER_16;
  hspi2.Init.FirstBit = SPI_FIRSTBIT_MSB;
  hspi2.Init.TIMode = SPI_TIMODE_DISABLE;
  hspi2.Init.CRCCalculation = SPI_CRCCALCULATION_DISABLE;
  hspi2.Init.CRCPolynomial = 10;
  if (HAL_SPI_Init(&hspi2) != HAL_OK)
  {
    Error_Handler();
  }

}

static void MX_TIM2_Init(void)
{

  TIM_ClockConfigTypeDef sClockSourceConfig = {0};
  TIM_MasterConfigTypeDef sMasterConfig = {0};

  htim2.Instance = TIM2;
  htim2.Init.Prescaler = 35999;
  htim2.Init.CounterMode = TIM_COUNTERMODE_UP;
  htim2.Init.Period = 360000;
  htim2.Init.ClockDivision = TIM_CLOCKDIVISION_DIV1;
  htim2.Init.AutoReloadPreload = TIM_AUTORELOAD_PRELOAD_DISABLE;
  if (HAL_TIM_Base_Init(&htim2) != HAL_OK)
  {
    Error_Handler();
  }
  sClockSourceConfig.ClockSource = TIM_CLOCKSOURCE_INTERNAL;
  if (HAL_TIM_ConfigClockSource(&htim2, &sClockSourceConfig) != HAL_OK)
  {
    Error_Handler();
  }
  sMasterConfig.MasterOutputTrigger = TIM_TRGO_RESET;
  sMasterConfig.MasterSlaveMode = TIM_MASTERSLAVEMODE_DISABLE;
  if (HAL_TIMEx_MasterConfigSynchronization(&htim2, &sMasterConfig) != HAL_OK)
  {
    Error_Handler();
  }

}

static void MX_TIM3_Init(void)
{

  TIM_ClockConfigTypeDef sClockSourceConfig = {0};
  TIM_MasterConfigTypeDef sMasterConfig = {0};
  TIM_OC_InitTypeDef sConfigOC = {0};

  htim3.Instance = TIM3;
  htim3.Init.Prescaler = 35;
  htim3.Init.CounterMode = TIM_COUNTERMODE_UP;
  htim3.Init.Period = 2000;
  htim3.Init.ClockDivision = TIM_CLOCKDIVISION_DIV1;
  htim3.Init.AutoReloadPreload = TIM_AUTORELOAD_PRELOAD_ENABLE;
  if (HAL_TIM_Base_Init(&htim3) != HAL_OK)
  {
    Error_Handler();
  }
  sClockSourceConfig.ClockSource = TIM_CLOCKSOURCE_INTERNAL;
  if (HAL_TIM_ConfigClockSource(&htim3, &sClockSourceConfig) != HAL_OK)
  {
    Error_Handler();
  }
  if (HAL_TIM_PWM_Init(&htim3) != HAL_OK)
  {
    Error_Handler();
  }
  sMasterConfig.MasterOutputTrigger = TIM_TRGO_RESET;
  sMasterConfig.MasterSlaveMode = TIM_MASTERSLAVEMODE_DISABLE;
  if (HAL_TIMEx_MasterConfigSynchronization(&htim3, &sMasterConfig) != HAL_OK)
  {
    Error_Handler();
  }
  sConfigOC.OCMode = TIM_OCMODE_PWM1;
  sConfigOC.Pulse = 0;
  sConfigOC.OCPolarity = TIM_OCPOLARITY_HIGH;
  sConfigOC.OCFastMode = TIM_OCFAST_DISABLE;
  if (HAL_TIM_PWM_ConfigChannel(&htim3, &sConfigOC, TIM_CHANNEL_1) != HAL_OK)
  {
    Error_Handler();
  }
  if (HAL_TIM_PWM_ConfigChannel(&htim3, &sConfigOC, TIM_CHANNEL_2) != HAL_OK)
  {
    Error_Handler();
  }
  HAL_TIM_MspPostInit(&htim3);

}

static void MX_TIM4_Init(void)
{

  TIM_ClockConfigTypeDef sClockSourceConfig = {0};
  TIM_MasterConfigTypeDef sMasterConfig = {0};

  htim4.Instance = TIM4;
  htim4.Init.Prescaler = 47999;
  htim4.Init.CounterMode = TIM_COUNTERMODE_UP;
  htim4.Init.Period = 60000;
  htim4.Init.ClockDivision = TIM_CLOCKDIVISION_DIV1;
  htim4.Init.AutoReloadPreload = TIM_AUTORELOAD_PRELOAD_DISABLE;
  if (HAL_TIM_Base_Init(&htim4) != HAL_OK)
  {
    Error_Handler();
  }
  sClockSourceConfig.ClockSource = TIM_CLOCKSOURCE_INTERNAL;
  if (HAL_TIM_ConfigClockSource(&htim4, &sClockSourceConfig) != HAL_OK)
  {
    Error_Handler();
  }
  sMasterConfig.MasterOutputTrigger = TIM_TRGO_RESET;
  sMasterConfig.MasterSlaveMode = TIM_MASTERSLAVEMODE_DISABLE;
  if (HAL_TIMEx_MasterConfigSynchronization(&htim4, &sMasterConfig) != HAL_OK)
  {
    Error_Handler();
  }

}

static void MX_TIM5_Init(void)
{

  TIM_ClockConfigTypeDef sClockSourceConfig = {0};
  TIM_MasterConfigTypeDef sMasterConfig = {0};

  htim5.Instance = TIM5;
  htim5.Init.Prescaler = 35999;
  htim5.Init.CounterMode = TIM_COUNTERMODE_UP;
  htim5.Init.Period = 240000;
  htim5.Init.ClockDivision = TIM_CLOCKDIVISION_DIV1;
  htim5.Init.AutoReloadPreload = TIM_AUTORELOAD_PRELOAD_DISABLE;
  if (HAL_TIM_Base_Init(&htim5) != HAL_OK)
  {
    Error_Handler();
  }
  sClockSourceConfig.ClockSource = TIM_CLOCKSOURCE_INTERNAL;
  if (HAL_TIM_ConfigClockSource(&htim5, &sClockSourceConfig) != HAL_OK)
  {
    Error_Handler();
  }
  sMasterConfig.MasterOutputTrigger = TIM_TRGO_RESET;
  sMasterConfig.MasterSlaveMode = TIM_MASTERSLAVEMODE_DISABLE;
  if (HAL_TIMEx_MasterConfigSynchronization(&htim5, &sMasterConfig) != HAL_OK)
  {
    Error_Handler();
  }

}

static void MX_TIM6_Init(void)
{

  TIM_MasterConfigTypeDef sMasterConfig = {0};

  htim6.Instance = TIM6;
  htim6.Init.Prescaler = 47999;
  htim6.Init.CounterMode = TIM_COUNTERMODE_UP;
  htim6.Init.Period = 1000;
  htim6.Init.AutoReloadPreload = TIM_AUTORELOAD_PRELOAD_DISABLE;
  if (HAL_TIM_Base_Init(&htim6) != HAL_OK)
  {
    Error_Handler();
  }
  sMasterConfig.MasterOutputTrigger = TIM_TRGO_RESET;
  sMasterConfig.MasterSlaveMode = TIM_MASTERSLAVEMODE_DISABLE;
  if (HAL_TIMEx_MasterConfigSynchronization(&htim6, &sMasterConfig) != HAL_OK)
  {
    Error_Handler();
  }

}

static void MX_UART4_Init(void)
{

  huart4.Instance = UART4;
  huart4.Init.BaudRate = 9600;
  huart4.Init.WordLength = UART_WORDLENGTH_8B;
  huart4.Init.StopBits = UART_STOPBITS_1;
  huart4.Init.Parity = UART_PARITY_NONE;
  huart4.Init.Mode = UART_MODE_TX_RX;
  huart4.Init.HwFlowCtl = UART_HWCONTROL_NONE;
  huart4.Init.OverSampling = UART_OVERSAMPLING_16;
  if (HAL_UART_Init(&huart4) != HAL_OK)
  {
    Error_Handler();
  }

}

static void MX_USART2_UART_Init(void)
{

  huart2.Instance = USART2;
  huart2.Init.BaudRate = 115200;
  huart2.Init.WordLength = UART_WORDLENGTH_8B;
  huart2.Init.StopBits = UART_STOPBITS_1;
  huart2.Init.Parity = UART_PARITY_NONE;
  huart2.Init.Mode = UART_MODE_TX_RX;
  huart2.Init.HwFlowCtl = UART_HWCONTROL_NONE;
  huart2.Init.OverSampling = UART_OVERSAMPLING_16;
  if (HAL_UART_Init(&huart2) != HAL_OK)
  {
    Error_Handler();
  }

}

static void MX_USART3_UART_Init(void)
{

  huart3.Instance = USART3;
  huart3.Init.BaudRate = 9600;
  huart3.Init.WordLength = UART_WORDLENGTH_8B;
  huart3.Init.StopBits = UART_STOPBITS_1;
  huart3.Init.Parity = UART_PARITY_NONE;
  huart3.Init.Mode = UART_MODE_TX_RX;
  huart3.Init.HwFlowCtl = UART_HWCONTROL_NONE;
  huart3.Init.OverSampling = UART_OVERSAMPLING_16;
  if (HAL_UART_Init(&huart3) != HAL_OK)
  {
    Error_Handler();
  }

}

static void MX_DMA_Init(void)
{

  /* DMA controller clock enable */
  __HAL_RCC_DMA2_CLK_ENABLE();

  /* DMA interrupt init */
  /* DMA2_Stream0_IRQn interrupt configuration */
  HAL_NVIC_SetPriority(DMA2_Stream0_IRQn, 5, 0);
  HAL_NVIC_EnableIRQ(DMA2_Stream0_IRQn);

}

static void MX_GPIO_Init(void)
{
  GPIO_InitTypeDef GPIO_InitStruct = {0};

  /* GPIO Ports Clock Enable */
  __HAL_RCC_GPIOC_CLK_ENABLE();
  __HAL_RCC_GPIOH_CLK_ENABLE();
  __HAL_RCC_GPIOA_CLK_ENABLE();
  __HAL_RCC_GPIOB_CLK_ENABLE();

  /*Configure GPIO pin Output Level */
  HAL_GPIO_WritePin(GSM_RST_GPIO_Port, GSM_RST_Pin, GPIO_PIN_RESET);

  /*Configure GPIO pin Output Level */
  HAL_GPIO_WritePin(GPIOA, LD2_Pin|DISPLAY_RST_Pin, GPIO_PIN_RESET);

  /*Configure GPIO pin Output Level */
  HAL_GPIO_WritePin(GPIOB, DISPLAY_A0_Pin|DISPLAY_CS_Pin, GPIO_PIN_RESET);

  /*Configure GPIO pin : B1_Pin */
  GPIO_InitStruct.Pin = B1_Pin;
  GPIO_InitStruct.Mode = GPIO_MODE_IT_FALLING;
  GPIO_InitStruct.Pull = GPIO_NOPULL;
  HAL_GPIO_Init(B1_GPIO_Port, &GPIO_InitStruct);

  /*Configure GPIO pin : GSM_RST_Pin */
  GPIO_InitStruct.Pin = GSM_RST_Pin;
  GPIO_InitStruct.Mode = GPIO_MODE_OUTPUT_PP;
  GPIO_InitStruct.Pull = GPIO_NOPULL;
  GPIO_InitStruct.Speed = GPIO_SPEED_FREQ_LOW;
  HAL_GPIO_Init(GSM_RST_GPIO_Port, &GPIO_InitStruct);

  /*Configure GPIO pin : GSM_RING_Pin */
  GPIO_InitStruct.Pin = GSM_RING_Pin;
  GPIO_InitStruct.Mode = GPIO_MODE_INPUT;
  GPIO_InitStruct.Pull = GPIO_NOPULL;
  HAL_GPIO_Init(GSM_RING_GPIO_Port, &GPIO_InitStruct);

  /*Configure GPIO pins : LD2_Pin DISPLAY_RST_Pin */
  GPIO_InitStruct.Pin = LD2_Pin|DISPLAY_RST_Pin;
  GPIO_InitStruct.Mode = GPIO_MODE_OUTPUT_PP;
  GPIO_InitStruct.Pull = GPIO_NOPULL;
  GPIO_InitStruct.Speed = GPIO_SPEED_FREQ_LOW;
  HAL_GPIO_Init(GPIOA, &GPIO_InitStruct);

  /*Configure GPIO pins : DISPLAY_A0_Pin DISPLAY_CS_Pin */
  GPIO_InitStruct.Pin = DISPLAY_A0_Pin|DISPLAY_CS_Pin;
  GPIO_InitStruct.Mode = GPIO_MODE_OUTPUT_PP;
  GPIO_InitStruct.Pull = GPIO_NOPULL;
  GPIO_InitStruct.Speed = GPIO_SPEED_FREQ_LOW;
  HAL_GPIO_Init(GPIOB, &GPIO_InitStruct);

  /* EXTI interrupt init*/
  HAL_NVIC_SetPriority(EXTI15_10_IRQn, 5, 0);
  HAL_NVIC_EnableIRQ(EXTI15_10_IRQn);

}

void StartDefaultTask(void const * argument)
{
  /* init code for USB_DEVICE */
  MX_USB_DEVICE_Init();
  for(;;)
  {
    osDelay(1);
  }
}

void HAL_TIM_PeriodElapsedCallback(TIM_HandleTypeDef *htim)
{
  if (htim->Instance == TIM1) {
    HAL_IncTick();
  }
  /* USER CODE BEGIN Callback 1 */
  if(htim->Instance == TIM2) {
	  BaseType_t xHigherPriorityTaskWoken = pdFALSE;
	  xSemaphoreGiveFromISR(Semaphore_MQTT_Publish, &xHigherPriorityTaskWoken);
	  portYIELD_FROM_ISR( xHigherPriorityTaskWoken );
  }
  else if(htim->Instance == TIM4) {
	  //HAL_UART_Transmit(DEBUG_UART, (uint8_t *) "ADC Conversion Trigger\r\n", 24, HAL_MAX_DELAY);
	  HAL_ADC_Start_DMA(&hadc1, (uint32_t *) &ADC_Value, 1);
  }
  else if(htim->Instance == TIM5) {
	  BaseType_t xHigherPriorityTaskWoken = pdFALSE;
	  xSemaphoreGiveFromISR(Semaphore_MQTT_Ping, &xHigherPriorityTaskWoken);
	  portYIELD_FROM_ISR( xHigherPriorityTaskWoken );
  }
  else if(htim->Instance == TIM6) {
	  BaseType_t xHigherPriorityTaskWoken = pdFALSE;
	  uint8_t value = SCREEN_UPDATE_TICK;
	  xQueueSendFromISR(Screen_Update_Queue, &value, &xHigherPriorityTaskWoken);
	  portYIELD_FROM_ISR( xHigherPriorityTaskWoken );
  }
  /* USER CODE END Callback 1 */
}

void Error_Handler(void)
{
  __disable_irq();
  while (1)
  {
  }
}
